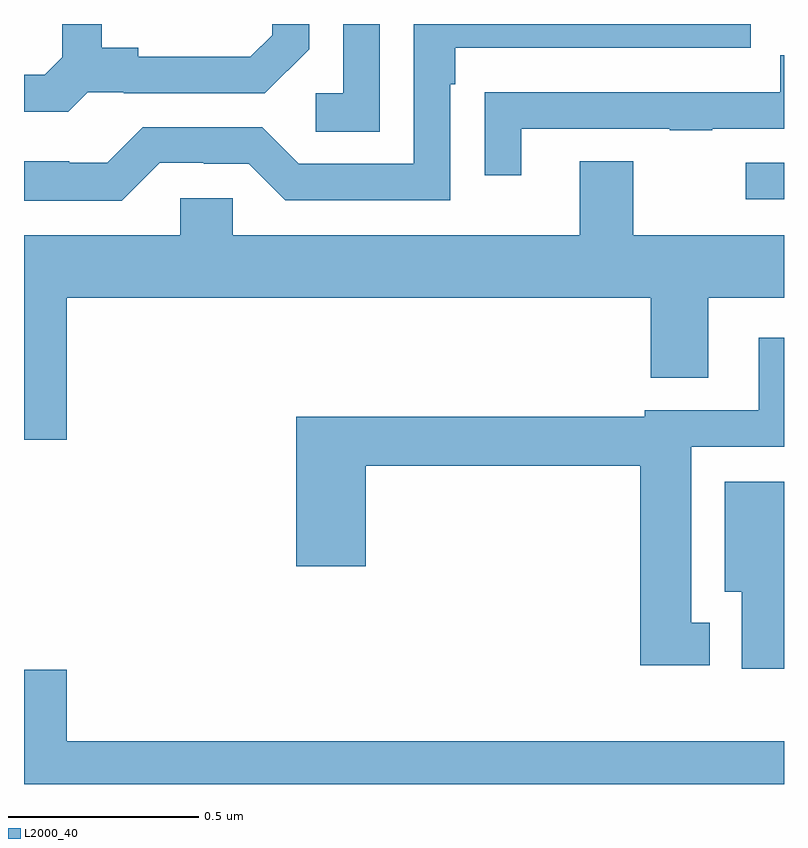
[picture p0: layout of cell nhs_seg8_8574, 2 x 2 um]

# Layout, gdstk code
import gdstk
lib = gdstk.Library(unit=1e-6, precision=1e-09)
def R(c, l, rs):  # rectangles x0, y0, x1, y1
    for r in rs: c.add(gdstk.rectangle(r[:2], r[2:], *l))
def P(c, l, *ps):  # polygons
    for p in ps: c.add(gdstk.Polygon(p, *l))
L2000_40 = (2000, 40)

nhs_seg8_8574 = lib.new_cell('nhs_seg8_8574')
R(nhs_seg8_8574, L2000_40, [(226.899,1103.439,227,1103.535), (225.377,1103.899,225.522,1103.9)])
P(nhs_seg8_8574, L2000_40, [(225.168,1103.721),(225.262,1103.721),(225.262,1103.718),(225.634,1103.718),(225.75,1103.834),(225.75,1103.9),(225.653,1103.9),(225.653,1103.871),(225.596,1103.814),(225.301,1103.814),(225.301,1103.837),(225.205,1103.837),(225.205,1103.9),(225.101,1103.9),(225.101,1103.813),(225.054,1103.766),(225,1103.766),(225,1103.669),(225.116,1103.669)],
  [(225.936,1103.9),(225.84,1103.9),(225.84,1103.718),(225.768,1103.718),(225.768,1103.617),(225.936,1103.617)],
  [(225.357,1103.535),(225.473,1103.535),(225.473,1103.532),(225.591,1103.532),(225.687,1103.436),(226.122,1103.436),(226.122,1103.741),(226.135,1103.741),(226.135,1103.838),(226.912,1103.838),(226.912,1103.9),(226.026,1103.9),(226.026,1103.532),(225.723,1103.532),(225.627,1103.628),(225.312,1103.628),(225.219,1103.535),(225.119,1103.535),(225.119,1103.539),(225,1103.539),(225,1103.435),(225.257,1103.435)],
  [(226.309,1103.625),(226.699,1103.625),(226.699,1103.62),(226.811,1103.62),(226.811,1103.625),(227,1103.625),(227,1103.818),(226.99,1103.818),(226.99,1103.721),(226.315,1103.721),(226.315,1103.72),(226.213,1103.72),(226.213,1103.502),(226.309,1103.502)],
  [(225.112,1103.18),(226.649,1103.18),(226.649,1102.969),(226.801,1102.969),(226.801,1103.18),(227,1103.18),(227,1103.344),(226.603,1103.344),(226.603,1103.539),(226.463,1103.539),(226.463,1103.344),(225.549,1103.344),(225.549,1103.442),(225.411,1103.442),(225.411,1103.344),(225,1103.344),(225,1102.806),(225.112,1102.806)],
  [(226.804,1102.325),(226.756,1102.325),(226.756,1102.788),(227,1102.788),(227,1103.074),(226.934,1103.074),(226.934,1102.884),(226.634,1102.884),(226.634,1102.867),(225.716,1102.867),(225.716,1102.473),(225.899,1102.473),(225.899,1102.738),(226.622,1102.738),(226.622,1102.212),(226.804,1102.212)],
  [(227,1102.696),(226.844,1102.696),(226.844,1102.406),(226.889,1102.406),(226.889,1102.203),(227,1102.203)],
  [(227,1102.012),(225.112,1102.012),(225.112,1102.201),(225,1102.201),(225,1101.9),(227,1101.9)])

lib.write_gds('nhs_seg8_8574.gds')
